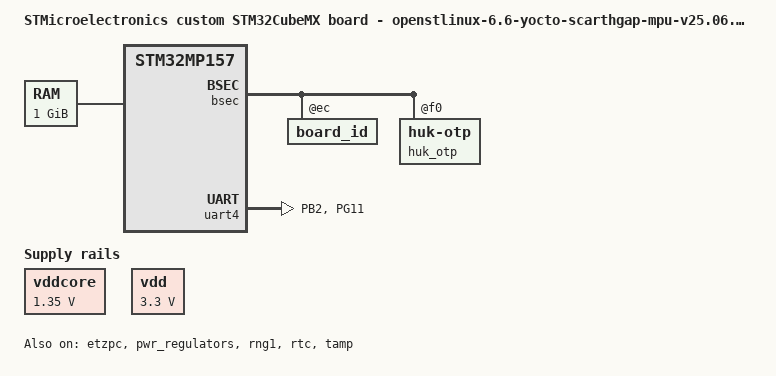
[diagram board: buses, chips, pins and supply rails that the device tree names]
// SPDX-License-Identifier: (GPL-2.0-or-later OR BSD-3-Clause)
/*
 * Copyright (C) 2025, STMicroelectronics - All Rights Reserved
 * Author: STM32CubeMX code generation for STMicroelectronics.
 */

/* For more information on Device Tree configuration, please refer to
 * https://wiki.st.com/stm32mpu/wiki/Category:Device_tree_configuration
 */

/dts-v1/;

#include <dt-bindings/pinctrl/stm32-pinfunc.h>
#include <dt-bindings/clock/stm32mp1-clksrc.h>
#include <dt-bindings/soc/stm32mp15-etzpc.h>
#include "stm32mp157.dtsi"
#include "stm32mp15xd.dtsi"
#include "stm32mp15xxaa-pinctrl.dtsi"

/* USER CODE BEGIN includes */
/* USER CODE END includes */

/ {
	model = "STMicroelectronics custom STM32CubeMX board - openstlinux-6.6-yocto-scarthgap-mpu-v25.06.11";
	compatible = "st,stm32mp157d-stm32mp157daa1-mx", "st,stm32mp157";

	memory@c0000000 {
		device_type = "memory";
		reg = <0xc0000000 0x40000000>;

		/* USER CODE BEGIN memory */
		/* USER CODE END memory */
	};

	reserved-memory {
		#address-cells = <1>;
		#size-cells = <1>;
		ranges;

		/* USER CODE BEGIN reserved-memory */
		/* USER CODE END reserved-memory */
	};

	/* USER CODE BEGIN root */
  	aliases {
       		serial0 = &uart4;
    	};
		
	alias {
	   serial0 = &uart4;
	};
	
	chosen {
		stdout-path = "serial0:115200n8";
	};
	
	vddcore: regulator-vddcore {
		compatible = "regulator-fixed";
		regulator-name = "vddcore";	
		regulator-min-microvolt = <1350000>;
		regulator-max-microvolt = <1350000>;
		regulator-always-on;
		//regulator-boot-on;
	};
	
	vdd: regulator-vdd {
		compatible = "regulator-fixed";
		regulator-name = "vdd";
		regulator-min-microvolt = <3300000>;
		regulator-max-microvolt = <3300000>;
		regulator-off-in-suspend;
		regulator-always-on;
	};
	/* USER CODE END root */

	clocks {
		/* USER CODE BEGIN clocks */
		/* USER CODE END clocks */

		clk_hsi: clk-hsi {
			clock-frequency = <64000000>;

			/* USER CODE BEGIN clk_hsi */
			/* USER CODE END clk_hsi */
		};
		clk_lse: clk-lse {
			clock-frequency = <32768>;
			st,drive = < LSEDRV_MEDIUM_HIGH >;

			/* USER CODE BEGIN clk_lse */
			/* USER CODE END clk_lse */
		};
		clk_hse: clk-hse {
			clock-frequency = <24000000>;
			st,digbypass;

			/* USER CODE BEGIN clk_hse */
			/* USER CODE END clk_hse */
		};
	};

}; /*root*/

/*Warning: the configuration of the secured GPIOs should be added in (addons) User Section*/
&pinctrl {
	/* USER CODE BEGIN pinctrl */
	uart4_pins_mx: uart4_mx-0 {
		pins1 {
			pinmux = <STM32_PINMUX('B', 2, AF8)>; /* UART4_RX */
			bias-disable;
		};
		pins2 {
			pinmux = <STM32_PINMUX('G', 11, AF6)>; /* UART4_TX */
			bias-disable;
			drive-push-pull;
			slew-rate = <0>;
		};
	};
	/* USER CODE END pinctrl */
};

&pinctrl_z {
	/* USER CODE BEGIN pinctrl_z */
	/* USER CODE END pinctrl_z */
};

&bsec {
	status = "okay";

	/* USER CODE BEGIN bsec */
	board_id: board_id@ec {
		reg = <0xec 0x4>;
		st,non-secure-otp;
	};
	huk_otp: huk-otp@f0 {
		reg = <0xf0 0x10>;
	};
	/* USER CODE END bsec */
};

&etzpc {
	status = "okay";
	st,decprot = <
	/*"NS_R S_W" peripherals*/
	DECPROT(STM32MP1_ETZPC_DDRCTRL_ID, DECPROT_NS_R_S_W, DECPROT_LOCK)
	DECPROT(STM32MP1_ETZPC_DDRPHYC_ID, DECPROT_NS_R_S_W, DECPROT_LOCK)
	/*"Non Secured" peripherals*/
	DECPROT(STM32MP1_ETZPC_DMA1_ID, DECPROT_NS_RW, DECPROT_UNLOCK)
	DECPROT(STM32MP1_ETZPC_DMAMUX_ID, DECPROT_NS_RW, DECPROT_UNLOCK)
	DECPROT(STM32MP1_ETZPC_ETH_ID, DECPROT_NS_RW, DECPROT_UNLOCK)
	DECPROT(STM32MP1_ETZPC_I2C1_ID, DECPROT_NS_RW, DECPROT_UNLOCK)
	DECPROT(STM32MP1_ETZPC_I2C2_ID, DECPROT_NS_RW, DECPROT_UNLOCK)
	DECPROT(STM32MP1_ETZPC_I2C4_ID, DECPROT_NS_RW, DECPROT_UNLOCK)
	DECPROT(STM32MP1_ETZPC_TIM4_ID, DECPROT_NS_RW, DECPROT_UNLOCK)
	DECPROT(STM32MP1_ETZPC_UART4_ID, DECPROT_NS_RW, DECPROT_UNLOCK)
	DECPROT(STM32MP1_ETZPC_OTG_ID, DECPROT_NS_RW, DECPROT_UNLOCK)
	/*"Secured" peripherals*/
	DECPROT(STM32MP1_ETZPC_RNG1_ID, DECPROT_S_RW, DECPROT_UNLOCK)
	DECPROT(STM32MP1_ETZPC_STGENC_ID, DECPROT_S_RW, DECPROT_UNLOCK)
	/*"Mcu Isolation" peripherals*/
	DECPROT(STM32MP1_ETZPC_DMA2_ID, DECPROT_MCU_ISOLATION, DECPROT_UNLOCK)

	/*Restriction: following IDs are not managed  - please to use User-Section if needed:
		  STM32MP1_ETZPC_SRAMx_ID  STM32MP1_ETZPC_RETRAM_ID  STM32MP1_ETZPC_BKPSRAM_ID*/

	/* USER CODE BEGIN etzpc_decprot */
		/*STM32CubeMX generates a basic and standard configuration for ETZPC.
		Additional device configurations can be added here if needed.
		"etzpc" node could be also overloaded in "addons" User-Section.*/
	/* USER CODE END etzpc_decprot */
	>;

	/* USER CODE BEGIN etzpc */
	/* USER CODE END etzpc */
};

&pwr_regulators {
	status = "okay";

	/* USER CODE BEGIN pwr_regulators */
	vdd-supply = <&vdd>;
	/* USER CODE END pwr_regulators */
};

&rcc {
	status = "okay";
	/* USER CODE BEGIN rcc */
	compatible = "st,stm32mp1-rcc-secure";
	/* USER CODE END rcc */
	st,clksrc = <
		CLK_CKPER_DISABLED
		CLK_ETH_PLL4P
		CLK_SDMMC12_PLL3R
		CLK_STGEN_HSI
		CLK_USBPHY_HSE
		CLK_I2C46_PCLK5
		CLK_USBO_USBPHY
		CLK_I2C12_PCLK1
		CLK_UART24_HSI
		CLK_RNG1_CSI
		CLK_MPU_PLL1P
		CLK_AXI_PLL2P
		CLK_MCU_PLL3P
		CLK_RTC_LSE
		CLK_MCO1_DISABLED
		CLK_MCO2_DISABLED
	>;
	st,clkdiv = <
		DIV(DIV_MPU, 1)
		DIV(DIV_AXI, 0)
		DIV(DIV_MCU, 0)
		DIV(DIV_APB1, 1)
		DIV(DIV_APB2, 1)
		DIV(DIV_APB3, 1)
		DIV(DIV_APB4, 1)
		DIV(DIV_APB5, 2)
		DIV(DIV_RTC, 0)
		DIV(DIV_MCO1, 0)
		DIV(DIV_MCO2, 0)
	>;
	st,pll_vco {
		pll1_vco_1600Mhz: pll1-vco-1600Mhz {
			src = < CLK_PLL12_HSE >;
			divmn = < 2 99 >;
		};
		pll2_vco_1066Mhz: pll2-vco-1066Mhz {
			src = < CLK_PLL12_HSE >;
			divmn = < 2 65 >;
			frac = < 0x1400 >;
		};
		pll3_vco_600Mhz: pll3-vco-600Mhz {
			src = < CLK_PLL3_HSE >;
			divmn = < 3 99 >;
		};
		pll4_vco_594Mhz: pll4-vco-594Mhz {
			src = < CLK_PLL4_HSE >;
			divmn = < 3 98 >;
		};
		/* USER CODE BEGIN rcc_st-pll_vco */
		/* USER CODE END rcc_st-pll_vco */
	};

	pll1:st,pll@0 {
		compatible = "st,stm32mp1-pll";
		reg = <0>;

		st,pll = < &pll1_cfg1 >;

		pll1_cfg1: pll1_cfg1 {
			st,pll_vco = < &pll1_vco_1600Mhz >;
			st,pll_div_pqr = < 0 1 1 >;
		};
		/* USER CODE BEGIN pll1 */
		/* USER CODE END pll1 */
	};

	pll2:st,pll@1 {
		compatible = "st,stm32mp1-pll";
		reg = <1>;

		st,pll = < &pll2_cfg1 >;

		pll2_cfg1: pll2_cfg1 {
			st,pll_vco = < &pll2_vco_1066Mhz >;
			st,pll_div_pqr = < 1 1 0 >;
		};
		/* USER CODE BEGIN pll2 */
		/* USER CODE END pll2 */
	};

	pll3:st,pll@2 {
		compatible = "st,stm32mp1-pll";
		reg = <2>;

		st,pll = < &pll3_cfg1 >;

		pll3_cfg1: pll3_cfg1 {
			st,pll_vco = < &pll3_vco_600Mhz >;
			st,pll_div_pqr = < 2 1 2 >;
		};
		/* USER CODE BEGIN pll3 */
		/* USER CODE END pll3 */
	};

	pll4:st,pll@3 {
		compatible = "st,stm32mp1-pll";
		reg = <3>;

		st,pll = < &pll4_cfg1 >;

		pll4_cfg1: pll4_cfg1 {
			st,pll_vco = < &pll4_vco_594Mhz >;
			st,pll_div_pqr = < 5 7 7 >;
		};
		/* USER CODE BEGIN pll4 */
		/* USER CODE END pll4 */
	};

};

&rng1 {
	status = "okay";

	/* USER CODE BEGIN rng1 */
	/* USER CODE END rng1 */
};

&rtc {
	status = "okay";

	/* USER CODE BEGIN rtc */
	/* USER CODE END rtc */
};

&tamp {
	status = "okay";

	/* USER CODE BEGIN tamp */
	st,tamp-passive-nb-sample = <4>;
	st,tamp-passive-sample-clk-div = <16384>;
	/* USER CODE END tamp */
};

/* USER CODE BEGIN addons */
&cpu0{
	cpu-frequency = <800000000>;
	cpu-supply = <&vddcore>;
};

&uart4 {
	pinctrl-names = "default";
	pinctrl-0 = <&uart4_pins_mx>;
	/delete-property/dmas;
	/delete-property/dma-names;	
	status = "okay";
};
&cpu0{
	cpu-supply = <&vddcore>;
};

&cpu1{
	cpu-supply = <&vddcore>;
};
/* USER CODE END addons */

